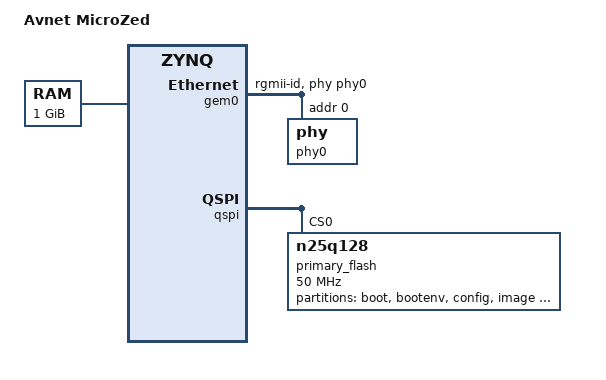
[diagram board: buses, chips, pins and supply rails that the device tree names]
#include "zynq.dtsi"

/ {
	model = "Avnet MicroZed";
	memory {
		device_type = "memory";
		reg = <0x000000000 0x40000000>;
	};

	chosen {
		stdout-path = "/amba@0/uart@E0001000";
	};

	fpga_axi: fpga-axi@0 {
		compatible = "simple-bus";
		#address-cells = <0x1>;
		#size-cells = <0x1>;
		ranges;
	};
};

&gem0 {
	phy-handle = <&phy0>;
	phy-mode = "rgmii-id";

	phy0: phy@0 {
		device_type = "ethernet-phy";
		reg = <0x0>;
		marvell,reg-init = <3 16 0xff00 0x1e 3 17 0xfff0 0x00>;
	};
};

&usb0 {
	xlnx,phy-reset-gpio = <&gpio0 7 0>;
};

&qspi {
	status = "okay";
	is-dual = <0>;
	num-cs = <1>;
	primary_flash: ps7-qspi@0 {
		#address-cells = <1>;
		#size-cells = <1>;
		compatible = "n25q128";
		reg = <0x0>;
		spi-max-frequency = <50000000>;
		partition@0 {
			label = "boot";
			reg = <0x00000000 0x00500000>;
		};
		partition@500000 {
			label = "bootenv";
			reg = <0x00500000 0x00020000>;
		};
		partition@520000 {
			label = "config";
			reg = <0x00520000 0x00020000>;
		};
		partition@540000 {
			label = "image";
			reg = <0x00540000 0x00a80000>;
		};
		partition@fc0000 {
			label = "spare";
			reg = <0x00fc0000 0x00000000>;
		};
	};
};
